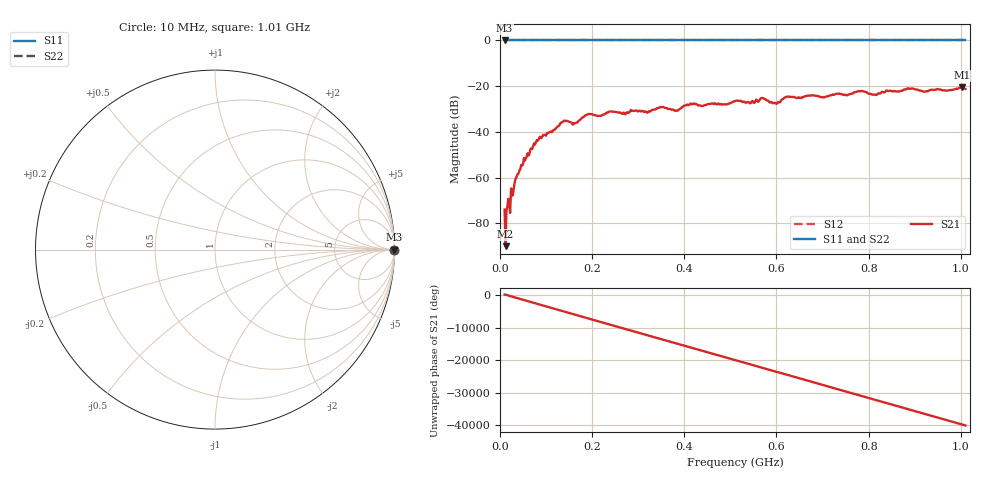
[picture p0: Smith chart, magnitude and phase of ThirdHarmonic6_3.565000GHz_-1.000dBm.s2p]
! 8/17/2025 11:48:07 AM
! C:\ANRITSUVNA\TEMP\TEMP.S2P
! CHANNEL.1
! TR.MEASUREMENT
! RAW.DATA
! RF.CORRECTION.OFF
! AVERAGING.OFF
! IF.BANDWIDTH: 5KHZ
! SWEEPTYPE:  FREQ.SWEEP(Linear)
! Reference Plane Port Info
! PORT:  PORT1  PORT2
! DISTANCE:  0  m  0  m
! TIME:  0  s  0  s
! PHASE.OFFSET:  0  deg.  0  deg.
! LOSS:  0  dB  0  dB
! REF.LOSS:  0  dB  0  dB
! REF.FREQ:  0  Hz  0  Hz
! Power Info
! POWER:  -20  dBm  -20  dBm
! EFF.POWER:  -20  dBm  -20  dBm
! SOURCE.ATTEN:  0  dB  0  dB
! TEST.ATTEN:  0  dB  0  dB
# GHZ S RI R 50.0
! FREQ.GHZ  S11RE  S11IM  S21RE  S21IM  S12RE  S12IM  S22RE  S22IM
!; PortSelection: Port_12
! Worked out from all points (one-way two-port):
!   501 points, 10 MHz to 1.01 GHz, reference 50 ohm
!   highest |S21| = -20.52 dB at 1.002 GHz (marker M1); lowest = -90.0 dB at 12 MHz (marker M2)
!   lowest |S11| = 0.0 dB at 10 MHz (marker M3)
!   |S11| at or under -10 dB: nowhere
!   |S22| runs from 0.0 to 0.0 dB; largest |S21 - S12| = 1.1
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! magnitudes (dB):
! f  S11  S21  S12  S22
! 10 MHz  0.0  -74.0  0.0  0.0
! 12 MHz  0.0  -90.0  0.0  0.0
! 24 MHz  0.0  -64.7  0.0  0.0
! 38 MHz  0.0  -58.5  0.0  0.0
! 76 MHz  0.0  -45.5  0.0  0.0
! 136 MHz  0.0  -35.6  0.0  0.0
! 162 MHz  0.0  -36.2  0.0  0.0
! 178 MHz  0.0  -33.8  0.0  0.0
! 194 MHz  0.0  -32.1  0.0  0.0
! 344 MHz  0.0  -29.6  0.0  0.0
! 382 MHz  0.0  -30.7  0.0  0.0
! 416 MHz  0.0  -28.0  0.0  0.0
! 510 MHz  0.0  -26.5  0.0  0.0
! 570 MHz  0.0  -25.2  0.0  0.0
! 596 MHz  0.0  -27.2  0.0  0.0
! 622 MHz  0.0  -24.6  0.0  0.0
! 678 MHz  0.0  -24.0  0.0  0.0
! 784 MHz  0.0  -22.2  0.0  0.0
! 814 MHz  0.0  -23.6  0.0  0.0
! 844 MHz  0.0  -22.1  0.0  0.0
! 1.002 GHz  0.0  -20.5  0.0  0.0
! 1.01 GHz  0.0  -21.2  0.0  0.0
